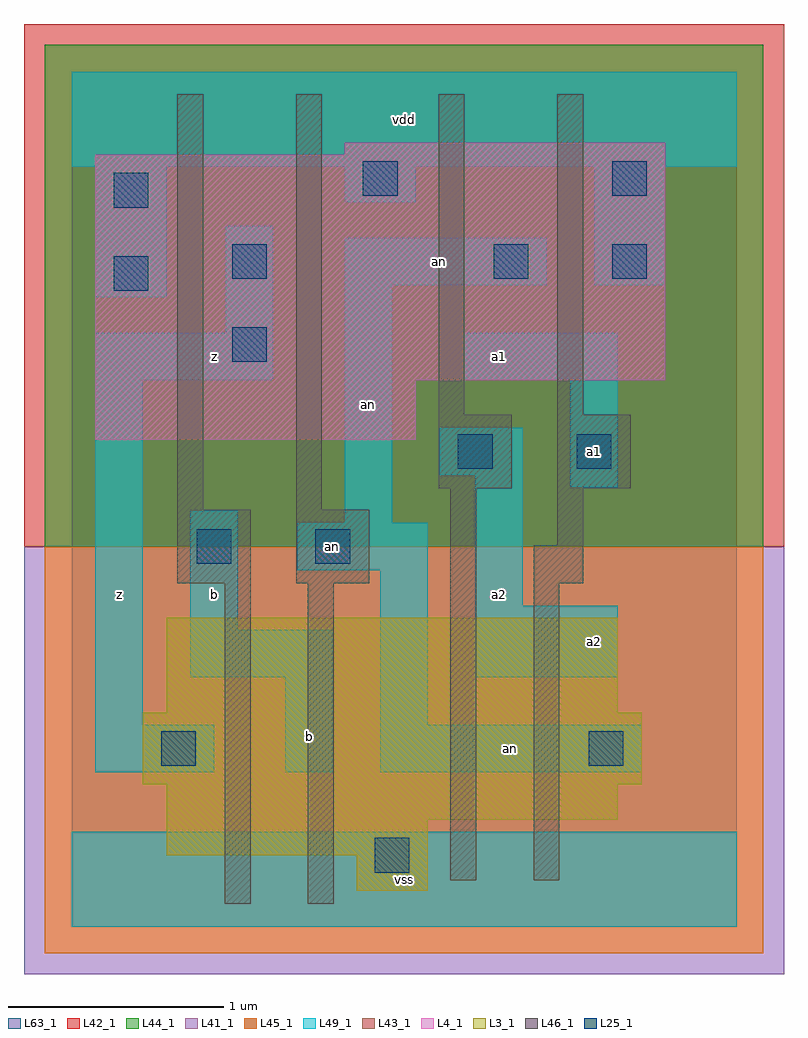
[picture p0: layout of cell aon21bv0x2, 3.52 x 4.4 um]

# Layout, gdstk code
import gdstk
lib = gdstk.Library(unit=1e-6, precision=1e-09)
def R(c, l, rs):  # rectangles x0, y0, x1, y1
    for r in rs: c.add(gdstk.rectangle(r[:2], r[2:], *l))
L3_1 = (3, 1)
L4_1 = (4, 1)
L25_1 = (25, 1)
L41_1 = (41, 1)
L42_1 = (42, 1)
L43_1 = (43, 1)
L44_1 = (44, 1)
L45_1 = (45, 1)
L46_1 = (46, 1)
L49_1 = (49, 1)
L63_1 = (63, 1)

aon21bv0x2 = lib.new_cell('aon21bv0x2')
R(aon21bv0x2, L3_1, [(1.32,0.165,1.65,0.33), (0.44,0.33,1.65,0.495), (0.44,0.495,2.53,0.66), (0.33,0.66,2.64,0.99), (0.44,0.99,2.53,1.43)])
R(aon21bv0x2, L4_1, [(0.11,2.255,1.595,2.53), (0.11,2.53,2.75,3.575), (1.265,3.575,2.75,3.63)])
R(aon21bv0x2, L25_1, [(1.405,0.25,1.565,0.41), (0.415,0.745,0.575,0.905), (2.395,0.745,2.555,0.905), (0.58,1.68,0.74,1.84), (1.13,1.68,1.29,1.84), (1.79,2.12,1.95,2.28), (2.34,2.12,2.5,2.28), (0.745,2.615,0.905,2.775), (0.195,2.945,0.355,3.105), (0.745,3,0.905,3.16), (1.955,3,2.115,3.16), (2.505,3,2.665,3.16), (0.195,3.33,0.355,3.49), (1.35,3.385,1.51,3.545), (2.505,3.385,2.665,3.545)])
R(aon21bv0x2, L41_1, [(-0.22,-0.22,3.3,1.76)])
R(aon21bv0x2, L42_1, [(-0.22,1.76,3.3,4.18)])
R(aon21bv0x2, L43_1, [(1.32,0.165,1.65,0.33), (0.44,0.33,1.65,0.495), (0.44,0.495,2.53,0.66), (0.33,0.66,2.64,0.99), (0.44,0.99,2.53,1.43), (0.11,2.255,1.595,2.53), (0.11,2.53,2.75,3.575), (1.265,3.575,2.75,3.63)])
R(aon21bv0x2, L44_1, [(-0.125,1.76,3.205,4.085)])
R(aon21bv0x2, L45_1, [(-0.125,-0.125,3.205,1.76)])
R(aon21bv0x2, L46_1, [(0.71,0.105,0.83,1.59), (1.095,0.105,1.215,1.59), (1.755,0.215,1.875,2.03), (2.14,0.215,2.26,1.59), (0.49,1.59,0.83,1.93), (1.04,1.59,1.38,1.93), (2.14,1.59,2.37,1.765), (2.25,1.765,2.37,2.03), (0.49,1.93,0.61,3.855), (1.04,1.93,1.16,3.855), (1.7,2.03,2.04,2.37), (2.25,2.03,2.59,2.37), (1.7,2.37,1.82,3.855), (2.25,2.37,2.37,3.855)])
R(aon21bv0x2, L49_1, [(0,0,3.08,0.44), (0.11,0.715,0.66,0.935), (0.99,0.715,1.21,1.155), (1.43,0.715,2.64,0.935), (0.11,0.935,0.33,2.53), (1.43,0.935,1.65,1.65), (0.55,1.155,1.21,1.375), (1.87,1.155,2.53,1.485), (0.55,1.375,0.77,1.925), (1.87,1.485,2.09,2.09), (1.045,1.65,1.65,1.87), (1.265,1.87,1.485,2.97), (2.31,2.035,2.53,2.53), (1.705,2.09,2.09,2.31), (0.11,2.53,0.935,2.75), (1.815,2.53,2.53,2.75), (0.715,2.75,0.935,3.245), (0.11,2.915,0.44,3.52), (1.265,2.97,2.2,3.19), (2.42,2.97,2.75,3.52), (1.265,3.355,1.595,3.52), (0,3.52,3.08,3.96)])
R(aon21bv0x2, L63_1, [(0,0,3.08,3.96)])
aon21bv0x2.add(gdstk.Label('an', (1.21,1.76), layer=49, texttype=1))
aon21bv0x2.add(gdstk.Label('z', (0.22,1.54), layer=49, texttype=1))
aon21bv0x2.add(gdstk.Label('b', (1.1,0.88), layer=49, texttype=1))
aon21bv0x2.add(gdstk.Label('b', (0.66,1.54), layer=49, texttype=1))
aon21bv0x2.add(gdstk.Label('z', (0.66,2.64), layer=49, texttype=1))
aon21bv0x2.add(gdstk.Label('an', (1.375,2.42), layer=49, texttype=1))
aon21bv0x2.add(gdstk.Label('vss', (1.54,0.22), layer=49, texttype=1))
aon21bv0x2.add(gdstk.Label('a2', (1.98,1.54), layer=49, texttype=1))
aon21bv0x2.add(gdstk.Label('a1', (1.98,2.64), layer=49, texttype=1))
aon21bv0x2.add(gdstk.Label('an', (1.705,3.08), layer=49, texttype=1))
aon21bv0x2.add(gdstk.Label('vdd', (1.54,3.74), layer=49, texttype=1))
aon21bv0x2.add(gdstk.Label('an', (2.035,0.825), layer=49, texttype=1))
aon21bv0x2.add(gdstk.Label('a2', (2.42,1.32), layer=49, texttype=1))
aon21bv0x2.add(gdstk.Label('a1', (2.42,2.2), layer=49, texttype=1))

lib.write_gds('aon21bv0x2.gds')
